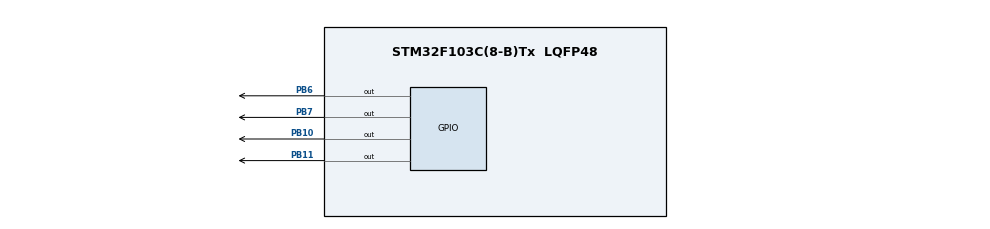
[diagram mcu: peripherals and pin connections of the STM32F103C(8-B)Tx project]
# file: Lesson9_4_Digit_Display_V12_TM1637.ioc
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Mcu.Family=STM32F1
Mcu.Name=STM32F103C(8-B)Tx
Mcu.Package=LQFP48
NVIC.PriorityGroup=NVIC_PRIORITYGROUP_4
PA13.Mode=Serial_Wire
PA13.Signal=SYS_JTMS-SWDIO
PA14.Mode=Serial_Wire
PA14.Signal=SYS_JTCK-SWCLK
PB10.GPIO_ModeDefaultOutputPP=GPIO_MODE_OUTPUT_OD
PB10.GPIO_PuPd=GPIO_PULLUP
PB10.PinState=GPIO_PIN_SET
PB10.Signal=GPIO_Output
PB11.GPIO_ModeDefaultOutputPP=GPIO_MODE_OUTPUT_OD
PB11.GPIO_PuPd=GPIO_PULLUP
PB11.Signal=GPIO_Output
PB6.GPIO_ModeDefaultOutputPP=GPIO_MODE_OUTPUT_OD
PB6.GPIO_PuPd=GPIO_PULLUP
PB6.PinState=GPIO_PIN_SET
PB6.Signal=GPIO_Output
PB7.GPIO_ModeDefaultOutputPP=GPIO_MODE_OUTPUT_OD
PB7.GPIO_PuPd=GPIO_PULLUP
PB7.PinState=GPIO_PIN_SET
PB7.Signal=GPIO_Output
ProjectManager.HeapSize=0x200
ProjectManager.StackSize=0x400
ProjectManager.TargetToolchain=STM32CubeIDE
RCC.APB1Freq_Value=8000000
RCC.APB2Freq_Value=8000000
board=custom

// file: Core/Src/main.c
/* USER CODE BEGIN Header */
/**
  ******************************************************************************
  * @file           : main.c
  * @brief          : Main program body
  ******************************************************************************
  * @attention
  *
  * Copyright (c) 2026 STMicroelectronics.
  * All rights reserved.
  *
  * This software is licensed under terms that can be found in the LICENSE file
  * in the root directory of this software component.
  * If no LICENSE file comes with this software, it is provided AS-IS.
  *
  ******************************************************************************
  */
/* USER CODE END Header */
#include "main.h"

/* USER CODE BEGIN Includes */
#include "tm1637.h"
/* USER CODE END Includes */

void SystemClock_Config(void);
static void MX_GPIO_Init(void);

/* USER CODE BEGIN 0 */
extern void TM1637_DIO_High (void);
// Bảng mã 7-seg cho số 0–9
const uint8_t digitMap[10] = {
    0x3F, //0
    0x06, //1
    0x5B, //2
    0x4F, //3
    0x66, //4
    0x6D, //5
    0x7D, //6
    0x07, //7
    0x7F, //8
    0x6F  //9
};

/* USER CODE END 0 */

int main(void)
{

  /* MCU Configuration--------------------------------------------------------*/

  /* Reset of all peripherals, Initializes the Flash interface and the Systick. */
  HAL_Init();

  /* Configure the system clock */
  SystemClock_Config();

  /* Initialize all configured peripherals */
  MX_GPIO_Init();
  /* USER CODE BEGIN 2 */

  TM1637_Init();

  uint8_t data[4] = {digitMap[1], digitMap[2], digitMap[3], digitMap[4]};
     TM1637_WriteDigits(data, 4);

     uint8_t count = 0;

  /* USER CODE END 2 */

  /* Infinite loop */
  while (1)
  {
	  uint8_t data[4];

	      data[0] = digitMap[(count / 1000) % 10];
	      data[1] = digitMap[(count / 100) % 10];
	      data[2] = digitMap[(count / 10) % 10];
	      data[3] = digitMap[count % 10];

	      TM1637_WriteDigits(data, 4);

	      count++;
	      if(count > 9999) count = 0;

	      HAL_Delay(500);

  }
}

void SystemClock_Config(void)
{
  RCC_OscInitTypeDef RCC_OscInitStruct = {0};
  RCC_ClkInitTypeDef RCC_ClkInitStruct = {0};

  /** Initializes the RCC Oscillators according to the specified parameters
  * in the RCC_OscInitTypeDef structure.
  */
  RCC_OscInitStruct.OscillatorType = RCC_OSCILLATORTYPE_HSI;
  RCC_OscInitStruct.HSIState = RCC_HSI_ON;
  RCC_OscInitStruct.HSICalibrationValue = RCC_HSICALIBRATION_DEFAULT;
  RCC_OscInitStruct.PLL.PLLState = RCC_PLL_NONE;
  if (HAL_RCC_OscConfig(&RCC_OscInitStruct) != HAL_OK)
  {
    Error_Handler();
  }

  /** Initializes the CPU, AHB and APB buses clocks
  */
  RCC_ClkInitStruct.ClockType = RCC_CLOCKTYPE_HCLK|RCC_CLOCKTYPE_SYSCLK
                              |RCC_CLOCKTYPE_PCLK1|RCC_CLOCKTYPE_PCLK2;
  RCC_ClkInitStruct.SYSCLKSource = RCC_SYSCLKSOURCE_HSI;
  RCC_ClkInitStruct.AHBCLKDivider = RCC_SYSCLK_DIV1;
  RCC_ClkInitStruct.APB1CLKDivider = RCC_HCLK_DIV1;
  RCC_ClkInitStruct.APB2CLKDivider = RCC_HCLK_DIV1;

  if (HAL_RCC_ClockConfig(&RCC_ClkInitStruct, FLASH_LATENCY_0) != HAL_OK)
  {
    Error_Handler();
  }
}

static void MX_GPIO_Init(void)
{
  GPIO_InitTypeDef GPIO_InitStruct = {0};

  /* GPIO Ports Clock Enable */
  __HAL_RCC_GPIOB_CLK_ENABLE();
  __HAL_RCC_GPIOA_CLK_ENABLE();

  /*Configure GPIO pin Output Level */
  HAL_GPIO_WritePin(GPIOB, GPIO_PIN_10|GPIO_PIN_6|GPIO_PIN_7, GPIO_PIN_SET);

  /*Configure GPIO pin Output Level */
  HAL_GPIO_WritePin(GPIOB, GPIO_PIN_11, GPIO_PIN_RESET);

  /*Configure GPIO pins : PB10 PB11 PB6 PB7 */
  GPIO_InitStruct.Pin = GPIO_PIN_10|GPIO_PIN_11|GPIO_PIN_6|GPIO_PIN_7;
  GPIO_InitStruct.Mode = GPIO_MODE_OUTPUT_OD;
  GPIO_InitStruct.Pull = GPIO_NOPULL;
  GPIO_InitStruct.Speed = GPIO_SPEED_FREQ_LOW;
  HAL_GPIO_Init(GPIOB, &GPIO_InitStruct);

}

void Error_Handler(void)
{
  __disable_irq();
  while (1)
  {
  }
}
